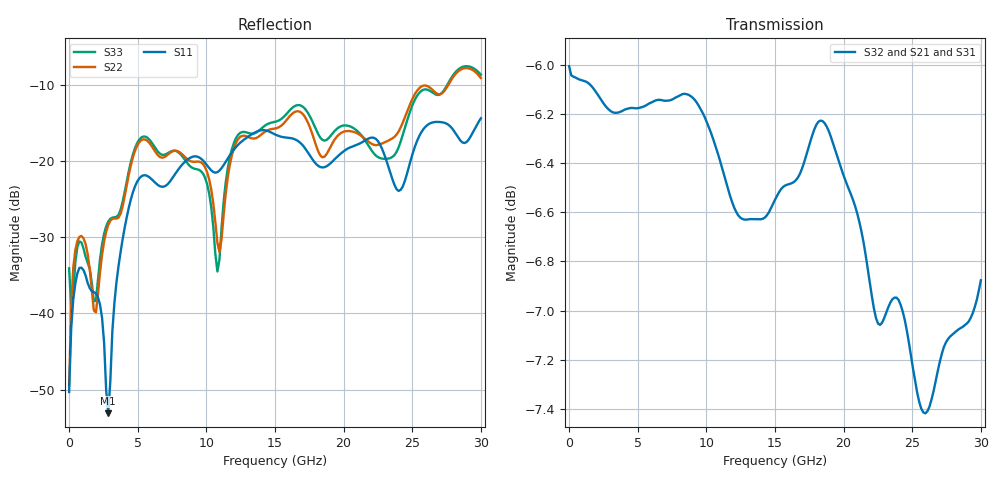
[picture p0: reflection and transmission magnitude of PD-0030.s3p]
! MARKI MICROWAVE INC.
! Email:  info@markimicrowave.com  Phone:  408-778-4200
! Model Number:  PD-0030  Date:  10/12
! Filename:		PD_0030.S3P  Version: 1.0
! Description:  3-port S-parameter data for Power Divider PD-0030
! Frequency Range: 	10 MHz to 30 GHz
! Port Configuration:	PORT 1: Common, PORT 2 and Port 3: Output
! S3P File: Measurements: Mag<S11> Ang<S11> Mag<S12> Ang<S12> Mag<S13> Ang<S13> ! row 1
!  Mag<S21> Ang<S21> Mag<S22> Ang<S22> Mag<S23> Ang<S23> ! row 2
!  Mag<S31> Ang<S31> Mag<S32> Ang<S32> Mag<S33> Ang<S33> ! row 3
# GHz S DB R 50
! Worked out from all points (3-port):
!   201 points, 10 MHz to 30 GHz, reference 50 ohm
!   strongest paths, dB at 10 MHz, 7.51 GHz, 15.01 GHz, 22.51 GHz, 30 GHz:
!     S32: -6.0, -6.1, -6.5, -7.1, -6.9
!     S21: -6.0, -6.1, -6.6, -7.1, -6.9
!     S31: -6.7, -6.1, -6.6, -7.1, -7.0
!   lowest |S11| = -53.1 dB at 2.86 GHz (marker M1), VSWR 1.00, Z = 49.9 + j0.171 ohm
!   |S11| at or under -10 dB: start of sweep to end of sweep
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0.01  -50.32 56.0  -6.01 -0.2  -6.71 -0.3
      -6.03 -0.3  -49.52 90.7  -6.03 -0.3
      -6.72 -0.2  -6.01 -0.2  -34.09 6.8
0.91  -34.00 86.6  -6.06 -19.1  -6.08 -19.1
      -6.07 -19.1  -29.84 71.1  -6.07 -19.1
      -6.08 -19.1  -6.06 -19.1  -30.68 71.5
1.96  -37.37 171.9  -6.11 -41.1  -6.19 -40.0
      -6.11 -41.1  -39.87 -0.2  -6.11 -41.1
      -6.19 -40.0  -6.11 -41.1  -38.35 -7.0
2.86  -53.11 129.0  -6.18 -59.5  -6.17 -58.8
      -6.19 -59.6  -28.40 -62.4  -6.19 -59.6
      -6.17 -58.9  -6.18 -59.5  -27.94 -74.8
4.96  -22.73 134.8  -6.18 -102.6  -6.17 -102.2
      -6.18 -102.6  -18.00 172.9  -6.18 -102.6
      -6.17 -102.2  -6.18 -102.6  -17.66 173.7
10.81  -21.46 -123.8  -6.36 134.3  -6.29 134.8
       -6.36 134.2  -30.75 -101.8  -6.36 134.2
       -6.30 134.7  -6.36 134.3  -34.50 -131.4
12.01  -18.50 -98.5  -6.58 110.0  -6.52 110.2
       -6.58 109.9  -18.32 134.5  -6.58 109.9
       -6.52 110.2  -6.58 110.0  -17.63 127.2
15.01  -16.52 -44.4  -6.55 50.1  -6.58 49.9
       -6.55 50.1  -15.74 -17.0  -6.55 50.1
       -6.58 49.9  -6.55 50.1  -14.86 -16.6
21.46  -17.42 53.0  -6.72 -88.4  -6.91 -86.2
       -6.73 -88.5  -16.94 -10.0  -6.73 -88.5
       -6.91 -86.3  -6.72 -88.4  -17.01 13.9
30  -14.39 84.4  -6.88 97.7  -7.03 98.2
    -6.88 97.6  -9.11 -85.3  -6.88 97.6
    -7.03 98.1  -6.88 97.7  -8.66 -85.0
